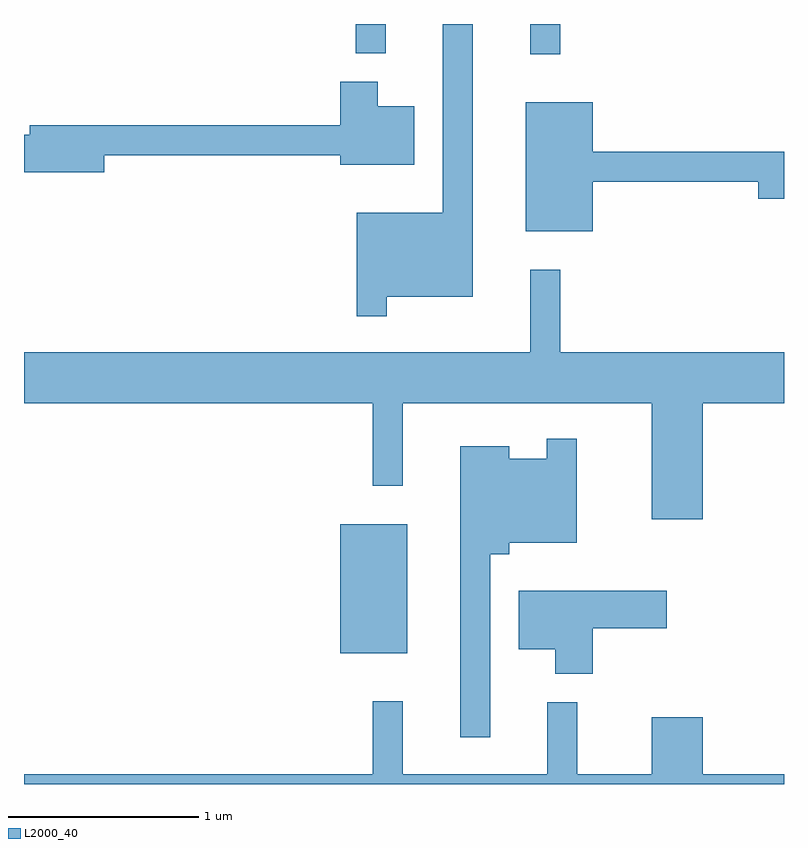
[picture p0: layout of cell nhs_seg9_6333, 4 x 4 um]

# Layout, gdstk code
import gdstk
lib = gdstk.Library(unit=1e-6, precision=1e-09)
def R(c, l, rs):  # rectangles x0, y0, x1, y1
    for r in rs: c.add(gdstk.rectangle(r[:2], r[2:], *l))
def P(c, l, *ps):  # polygons
    for p in ps: c.add(gdstk.Polygon(p, *l))
L2000_40 = (2000, 40)

nhs_seg9_6333 = lib.new_cell('nhs_seg9_6333')
R(nhs_seg9_6333, L2000_40, [(373.276,2037.121,373.629,2037.799), (374.276,2040.273,374.434,2040.432), (373.356,2040.278,373.514,2040.432)])
P(nhs_seg9_6333, L2000_40, [(373.519,2038.996),(373.974,2038.996),(373.974,2040.432),(373.816,2040.432),(373.816,2039.439),(373.361,2039.439),(373.361,2038.893),(373.519,2038.893)],
  [(372.034,2039.741),(373.276,2039.741),(373.276,2039.691),(373.664,2039.691),(373.664,2039.999),(373.474,2039.999),(373.474,2040.129),(373.276,2040.129),(373.276,2039.899),(371.641,2039.899),(371.641,2039.849),(371.611,2039.849),(371.611,2039.651),(372.034,2039.651)],
  [(374.604,2039.601),(375.476,2039.601),(375.476,2039.511),(375.611,2039.511),(375.611,2039.759),(374.604,2039.759),(374.604,2040.019),(374.251,2040.019),(374.251,2039.341),(374.604,2039.341)],
  [(375.184,2038.436),(375.611,2038.436),(375.611,2038.704),(374.434,2038.704),(374.434,2039.138),(374.276,2039.138),(374.276,2038.704),(371.611,2038.704),(371.611,2038.436),(373.446,2038.436),(373.446,2038.003),(373.604,2038.003),(373.604,2038.436),(374.916,2038.436),(374.916,2037.826),(375.184,2037.826)],
  [(374.064,2037.641),(374.164,2037.641),(374.164,2037.701),(374.519,2037.701),(374.519,2038.248),(374.361,2038.248),(374.361,2038.144),(374.164,2038.144),(374.164,2038.209),(373.906,2038.209),(373.906,2036.678),(374.064,2036.678)],
  [(374.604,2037.251),(374.994,2037.251),(374.994,2037.449),(374.216,2037.449),(374.216,2037.141),(374.406,2037.141),(374.406,2037.011),(374.604,2037.011)],
  [(375.611,2036.484),(375.184,2036.484),(375.184,2036.784),(374.916,2036.784),(374.916,2036.484),(374.524,2036.484),(374.524,2036.863),(374.366,2036.863),(374.366,2036.484),(373.604,2036.484),(373.604,2036.868),(373.446,2036.868),(373.446,2036.484),(371.611,2036.484),(371.611,2036.432),(375.611,2036.432)])

lib.write_gds('nhs_seg9_6333.gds')
